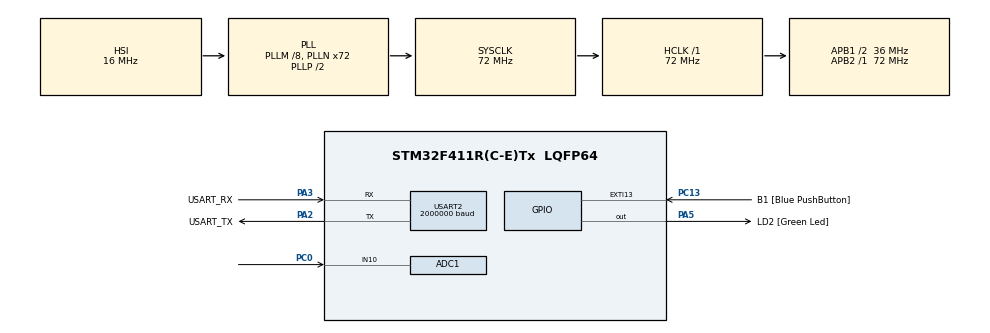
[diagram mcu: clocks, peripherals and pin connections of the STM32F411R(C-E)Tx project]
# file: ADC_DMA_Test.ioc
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ADC1.Channel-0\#ChannelRegularConversion=ADC_CHANNEL_10
ADC1.ClockPrescaler=ADC_CLOCK_SYNC_PCLK_DIV8
ADC1.ContinuousConvMode=ENABLE
ADC1.DMAContinuousRequests=ENABLE
ADC1.InjNumberOfConversion=0
ADC1.NbrOfConversionFlag=1
ADC1.Rank-0\#ChannelRegularConversion=1
ADC1.Resolution=ADC_RESOLUTION_8B
ADC1.SamplingTime-0\#ChannelRegularConversion=ADC_SAMPLETIME_144CYCLES
ADC1.master=1
Dma.ADC1.0.Direction=DMA_PERIPH_TO_MEMORY
Dma.ADC1.0.FIFOMode=DMA_FIFOMODE_DISABLE
Dma.ADC1.0.Instance=DMA2_Stream4
Dma.ADC1.0.MemDataAlignment=DMA_MDATAALIGN_BYTE
Dma.ADC1.0.MemInc=DMA_MINC_ENABLE
Dma.ADC1.0.Mode=DMA_CIRCULAR
Dma.ADC1.0.PeriphDataAlignment=DMA_PDATAALIGN_BYTE
Dma.ADC1.0.PeriphInc=DMA_PINC_DISABLE
Dma.ADC1.0.Priority=DMA_PRIORITY_LOW
Dma.Request0=ADC1
Mcu.Family=STM32F4
Mcu.Name=STM32F411R(C-E)Tx
Mcu.Package=LQFP64
NVIC.DMA2_Stream4_IRQn=true\:0\:0\:false\:false\:true\:false\:true\:true
NVIC.PriorityGroup=NVIC_PRIORITYGROUP_0
PA13.GPIO_Label=TMS
PA13.Mode=Serial_Wire
PA13.Signal=SYS_JTMS-SWDIO
PA14.GPIO_Label=TCK
PA14.Mode=Serial_Wire
PA14.Signal=SYS_JTCK-SWCLK
PA2.GPIO_Label=USART_TX
PA2.Mode=Asynchronous
PA2.Signal=USART2_TX
PA3.GPIO_Label=USART_RX
PA3.Mode=Asynchronous
PA3.Signal=USART2_RX
PA5.GPIO_Label=LD2 [Green Led]
PA5.Signal=GPIO_Output
PB3.GPIO_Label=SWO
PB3.Signal=SYS_JTDO-SWO
PC0.Signal=ADCx_IN10
PC13-ANTI_TAMP.GPIO_Label=B1 [Blue PushButton]
PC13-ANTI_TAMP.GPIO_ModeDefaultEXTI=GPIO_MODE_IT_FALLING
PC13-ANTI_TAMP.Signal=GPXTI13
PC14-OSC32_IN.Mode=LSE-External-Oscillator
PC14-OSC32_IN.Signal=RCC_OSC32_IN
PC15-OSC32_OUT.Mode=LSE-External-Oscillator
PC15-OSC32_OUT.Signal=RCC_OSC32_OUT
PH0\ -\ OSC_IN.Mode=HSE-External-Clock-Source
PH0\ -\ OSC_IN.Signal=RCC_OSC_IN
PH1\ -\ OSC_OUT.Mode=HSE-External-Clock-Source
PH1\ -\ OSC_OUT.Signal=RCC_OSC_OUT
ProjectManager.HeapSize=0x200
ProjectManager.StackSize=0x400
ProjectManager.TargetToolchain=STM32CubeIDE
RCC.48MHZClocksFreq_Value=36000000
RCC.AHBFreq_Value=72000000
RCC.APB1CLKDivider=RCC_HCLK_DIV2
RCC.APB1Freq_Value=36000000
RCC.APB1TimFreq_Value=72000000
RCC.APB2Freq_Value=72000000
RCC.APB2TimFreq_Value=72000000
RCC.CortexFreq_Value=72000000
RCC.FLatency-AdvancedSettings=FLASH_LATENCY_2
RCC.HCLKFreq_Value=72000000
RCC.HSE_VALUE=8000000
RCC.HSI_VALUE=16000000
RCC.PLLM=8
RCC.PLLN=72
RCC.SYSCLKFreq_VALUE=72000000
RCC.SYSCLKSource=RCC_SYSCLKSOURCE_PLLCLK
RCC.VCOOutputFreq_Value=144000000
SH.ADCx_IN10.0=ADC1_IN10,IN10
TIM4.Prescaler=72-1
USART2.BaudRate=2000000
USART2.VirtualMode=VM_ASYNC
VP_TIM4_VS_ClockSourceINT.Mode=Internal
board=NUCLEO-F411RE

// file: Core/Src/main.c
/* USER CODE BEGIN Header */
/**
  ******************************************************************************
  * @file           : main.c
  * @brief          : Main program body
  ******************************************************************************
  * @attention
  *
  * Copyright (c) 2022 STMicroelectronics.
  * All rights reserved.
  *
  * This software is licensed under terms that can be found in the LICENSE file
  * in the root directory of this software component.
  * If no LICENSE file comes with this software, it is provided AS-IS.
  *
  ******************************************************************************
  */
/* USER CODE END Header */
#include "main.h"

/* USER CODE BEGIN Includes */
#include <string.h>
#include <stdio.h>
#include <stdint.h>
/* USER CODE END Includes */

/* USER CODE BEGIN PD */
#define ADC_BUF_LEN 1024
/* USER CODE END PD */

ADC_HandleTypeDef hadc1;
DMA_HandleTypeDef hdma_adc1;

TIM_HandleTypeDef htim4;

UART_HandleTypeDef huart2;

/* USER CODE BEGIN PV */
char adc_buf[ADC_BUF_LEN];
char adcFirstHalf[ADC_BUF_LEN/2];

char buffer[20];

uint32_t timeStamp = 0;
/* USER CODE END PV */

void SystemClock_Config(void);
static void MX_GPIO_Init(void);
static void MX_DMA_Init(void);
static void MX_USART2_UART_Init(void);
static void MX_ADC1_Init(void);
static void MX_TIM4_Init(void);
/* USER CODE BEGIN PFP */
void send_uart2 (char *string);

/* USER CODE END PFP */

int main(void)
{

  /* MCU Configuration--------------------------------------------------------*/

  /* Reset of all peripherals, Initializes the Flash interface and the Systick. */
  HAL_Init();

  /* Configure the system clock */
  SystemClock_Config();

  /* Initialize all configured peripherals */
  MX_GPIO_Init();
  MX_DMA_Init();
  MX_USART2_UART_Init();
  MX_ADC1_Init();
  MX_TIM4_Init();
  /* USER CODE BEGIN 2 */

  HAL_ADC_Start_DMA(&hadc1, (uint32_t *) adc_buf, ADC_BUF_LEN);
  HAL_TIM_Base_Start(&htim4);
  /* USER CODE END 2 */

  /* Infinite loop */
  while (1)
  {

  }
}

void SystemClock_Config(void)
{
  RCC_OscInitTypeDef RCC_OscInitStruct = {0};
  RCC_ClkInitTypeDef RCC_ClkInitStruct = {0};

  /** Configure the main internal regulator output voltage
  */
  __HAL_RCC_PWR_CLK_ENABLE();
  __HAL_PWR_VOLTAGESCALING_CONFIG(PWR_REGULATOR_VOLTAGE_SCALE1);

  /** Initializes the RCC Oscillators according to the specified parameters
  * in the RCC_OscInitTypeDef structure.
  */
  RCC_OscInitStruct.OscillatorType = RCC_OSCILLATORTYPE_HSI;
  RCC_OscInitStruct.HSIState = RCC_HSI_ON;
  RCC_OscInitStruct.HSICalibrationValue = RCC_HSICALIBRATION_DEFAULT;
  RCC_OscInitStruct.PLL.PLLState = RCC_PLL_ON;
  RCC_OscInitStruct.PLL.PLLSource = RCC_PLLSOURCE_HSI;
  RCC_OscInitStruct.PLL.PLLM = 8;
  RCC_OscInitStruct.PLL.PLLN = 72;
  RCC_OscInitStruct.PLL.PLLP = RCC_PLLP_DIV2;
  RCC_OscInitStruct.PLL.PLLQ = 4;
  if (HAL_RCC_OscConfig(&RCC_OscInitStruct) != HAL_OK)
  {
    Error_Handler();
  }

  /** Initializes the CPU, AHB and APB buses clocks
  */
  RCC_ClkInitStruct.ClockType = RCC_CLOCKTYPE_HCLK|RCC_CLOCKTYPE_SYSCLK
                              |RCC_CLOCKTYPE_PCLK1|RCC_CLOCKTYPE_PCLK2;
  RCC_ClkInitStruct.SYSCLKSource = RCC_SYSCLKSOURCE_PLLCLK;
  RCC_ClkInitStruct.AHBCLKDivider = RCC_SYSCLK_DIV1;
  RCC_ClkInitStruct.APB1CLKDivider = RCC_HCLK_DIV2;
  RCC_ClkInitStruct.APB2CLKDivider = RCC_HCLK_DIV1;

  if (HAL_RCC_ClockConfig(&RCC_ClkInitStruct, FLASH_LATENCY_2) != HAL_OK)
  {
    Error_Handler();
  }
}

static void MX_ADC1_Init(void)
{

  ADC_ChannelConfTypeDef sConfig = {0};

  /** Configure the global features of the ADC (Clock, Resolution, Data Alignment and number of conversion)
  */
  hadc1.Instance = ADC1;
  hadc1.Init.ClockPrescaler = ADC_CLOCK_SYNC_PCLK_DIV8;
  hadc1.Init.Resolution = ADC_RESOLUTION_8B;
  hadc1.Init.ScanConvMode = DISABLE;
  hadc1.Init.ContinuousConvMode = ENABLE;
  hadc1.Init.DiscontinuousConvMode = DISABLE;
  hadc1.Init.ExternalTrigConvEdge = ADC_EXTERNALTRIGCONVEDGE_NONE;
  hadc1.Init.ExternalTrigConv = ADC_SOFTWARE_START;
  hadc1.Init.DataAlign = ADC_DATAALIGN_RIGHT;
  hadc1.Init.NbrOfConversion = 1;
  hadc1.Init.DMAContinuousRequests = ENABLE;
  hadc1.Init.EOCSelection = ADC_EOC_SINGLE_CONV;
  if (HAL_ADC_Init(&hadc1) != HAL_OK)
  {
    Error_Handler();
  }

  /** Configure for the selected ADC regular channel its corresponding rank in the sequencer and its sample time.
  */
  sConfig.Channel = ADC_CHANNEL_10;
  sConfig.Rank = 1;
  sConfig.SamplingTime = ADC_SAMPLETIME_144CYCLES;
  if (HAL_ADC_ConfigChannel(&hadc1, &sConfig) != HAL_OK)
  {
    Error_Handler();
  }

}

static void MX_TIM4_Init(void)
{

  TIM_ClockConfigTypeDef sClockSourceConfig = {0};
  TIM_MasterConfigTypeDef sMasterConfig = {0};

  htim4.Instance = TIM4;
  htim4.Init.Prescaler = 72-1;
  htim4.Init.CounterMode = TIM_COUNTERMODE_UP;
  htim4.Init.Period = 65535;
  htim4.Init.ClockDivision = TIM_CLOCKDIVISION_DIV1;
  htim4.Init.AutoReloadPreload = TIM_AUTORELOAD_PRELOAD_DISABLE;
  if (HAL_TIM_Base_Init(&htim4) != HAL_OK)
  {
    Error_Handler();
  }
  sClockSourceConfig.ClockSource = TIM_CLOCKSOURCE_INTERNAL;
  if (HAL_TIM_ConfigClockSource(&htim4, &sClockSourceConfig) != HAL_OK)
  {
    Error_Handler();
  }
  sMasterConfig.MasterOutputTrigger = TIM_TRGO_RESET;
  sMasterConfig.MasterSlaveMode = TIM_MASTERSLAVEMODE_DISABLE;
  if (HAL_TIMEx_MasterConfigSynchronization(&htim4, &sMasterConfig) != HAL_OK)
  {
    Error_Handler();
  }

}

static void MX_USART2_UART_Init(void)
{

  huart2.Instance = USART2;
  huart2.Init.BaudRate = 2000000;
  huart2.Init.WordLength = UART_WORDLENGTH_8B;
  huart2.Init.StopBits = UART_STOPBITS_1;
  huart2.Init.Parity = UART_PARITY_NONE;
  huart2.Init.Mode = UART_MODE_TX_RX;
  huart2.Init.HwFlowCtl = UART_HWCONTROL_NONE;
  huart2.Init.OverSampling = UART_OVERSAMPLING_16;
  if (HAL_UART_Init(&huart2) != HAL_OK)
  {
    Error_Handler();
  }

}

static void MX_DMA_Init(void)
{

  /* DMA controller clock enable */
  __HAL_RCC_DMA2_CLK_ENABLE();

  /* DMA interrupt init */
  /* DMA2_Stream4_IRQn interrupt configuration */
  HAL_NVIC_SetPriority(DMA2_Stream4_IRQn, 0, 0);
  HAL_NVIC_EnableIRQ(DMA2_Stream4_IRQn);

}

static void MX_GPIO_Init(void)
{
  GPIO_InitTypeDef GPIO_InitStruct = {0};

  /* GPIO Ports Clock Enable */
  __HAL_RCC_GPIOC_CLK_ENABLE();
  __HAL_RCC_GPIOH_CLK_ENABLE();
  __HAL_RCC_GPIOA_CLK_ENABLE();
  __HAL_RCC_GPIOB_CLK_ENABLE();

  /*Configure GPIO pin Output Level */
  HAL_GPIO_WritePin(LD2_GPIO_Port, LD2_Pin, GPIO_PIN_RESET);

  /*Configure GPIO pin : B1_Pin */
  GPIO_InitStruct.Pin = B1_Pin;
  GPIO_InitStruct.Mode = GPIO_MODE_IT_FALLING;
  GPIO_InitStruct.Pull = GPIO_NOPULL;
  HAL_GPIO_Init(B1_GPIO_Port, &GPIO_InitStruct);

  /*Configure GPIO pin : LD2_Pin */
  GPIO_InitStruct.Pin = LD2_Pin;
  GPIO_InitStruct.Mode = GPIO_MODE_OUTPUT_PP;
  GPIO_InitStruct.Pull = GPIO_NOPULL;
  GPIO_InitStruct.Speed = GPIO_SPEED_FREQ_LOW;
  HAL_GPIO_Init(LD2_GPIO_Port, &GPIO_InitStruct);

}

/* USER CODE BEGIN 4 */
// HalfConversion Callback
void HAL_ADC_ConvHalfCpltCallback(ADC_HandleTypeDef* hadc){
	//HAL_GPIO_WritePin(LD2_GPIO_Port, LD2_Pin, GPIO_PIN_SET);
//	strcpy(adcFirstHalf, adc_buf);
	//timeStamp = htim4.Instance->CNT;
	for(uint16_t i = 0; i<(ADC_BUF_LEN/2)-1; i++){
//		adcFirstHalf[i] = (93 * adc_buf[i])/255 +33;
		sprintf(buffer, "%d\n", adc_buf[i]);
		send_uart2(buffer);
	}
//	adcFirstHalf[ADC_BUF_LEN/2 - 1] = '\0';
//	send_uart2(adcFirstHalf);

	//HAL_ADC_Stop_DMA(&hadc1);
	//send_uart2(adcFirstHalf);
}

// FullConversion Callback
void HAL_ADC_ConvCpltCallback(ADC_HandleTypeDef* hadc){
	//HAL_GPIO_WritePin(LD2_GPIO_Port, LD2_Pin, GPIO_PIN_RESET);
//	timeStamp = htim4.Instance->CNT - timeStamp;
//	HAL_ADC_Stop_DMA(&hadc1);
//	char* ptrAdc = &adc_buf[512];
//	strcpy(adcFirstHalf, ptrAdc);
//	sprintf(buffer, "Time = %lu us\n\r", timeStamp);
//	send_uart2(buffer);
	for(uint16_t i = (ADC_BUF_LEN/2); i<ADC_BUF_LEN-1; i++){
//		adcFirstHalf[i - (ADC_BUF_LEN/2)] = (93 * adc_buf[i])/255 +33;
		sprintf(buffer, "%d\n", adc_buf[i]);
		send_uart2(buffer);
	}
//	adcFirstHalf[ADC_BUF_LEN/2 - 1] = '\0';
//	send_uart2(adcFirstHalf);
//	for(uint16_t i = 0; i<ADC_BUF_LEN; i++){
//		sprintf(buffer, "%d\n\r",(uint8_t) adc_buf[i]);
//		send_uart2(buffer);
//	}
}

void send_uart2 (char *string)
{
	uint16_t len = strlen (string);
	HAL_UART_Transmit(&huart2, (uint8_t *) string, len, HAL_MAX_DELAY);  // transmit in blocking mode
}
/* USER CODE END 4 */

void Error_Handler(void)
{
  __disable_irq();
  while (1)
  {
  }
}
